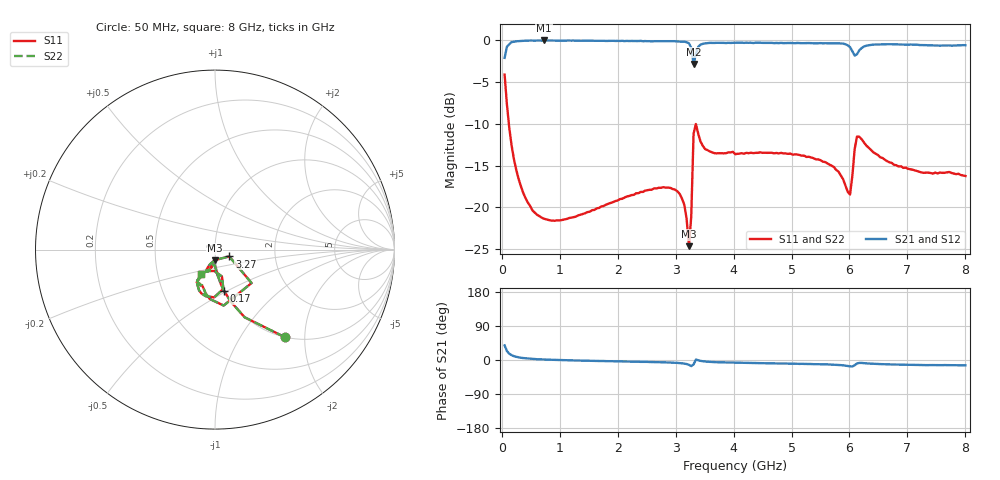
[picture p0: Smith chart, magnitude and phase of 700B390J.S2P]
!  American Technical Ceramics  Date:  3/13/98
!  One Norden Lane
!  Huntington Station,  NY.  11746-2102
!  Tel:  (516) 547-5700  Fax:  (516) 547-5748
!  Part Number  700B390J
!  Description: Porcelain, High Q, Low ESR
!  Application: Bypass, Coupling, Timing, Feedback
!  Tuning, Impedance Match, Blocking
# GHZ S DB R 50
! Freq  |S11|  S11 Ph  |S21|  S21 Ph  |S12|  S12 Ph  |S22|  S22 Ph
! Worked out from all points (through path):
!   201 points, 50 MHz to 8 GHz, reference 50 ohm
!   highest |S21| = -0.03 dB at 730 MHz (marker M1); lowest = -2.8 dB at 3.31 GHz (marker M2)
!   group delay of S21, straight-line fit = 6.88 ps
!   lowest |S11| = -24.6 dB at 3.23 GHz (marker M3), VSWR 1.12, Z = 49.5 - j5.83 ohm
!   |S11| at or under -10 dB: 123.5 MHz to end of sweep
!   |S22| runs from -24.6 to -4.1 dB; largest |S21 - S12| = 0
!   S11 on the Smith chart (normalised r, x): 50 MHz: 1.00, -1.59; 170 MHz: 0.99, -0.48; 3.27 GHz: 1.17, -0.09; 8 GHz: 0.83, -0.23
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0.05  -4.11 -51.5  -2.11 38.5  -2.11 38.5  -4.11 -51.5
0.09  -7.70 -66.3  -0.79 23.6  -0.79 23.6  -7.70 -66.3
0.17  -12.56 -77.5  -0.23 12.8  -0.23 12.8  -12.56 -77.5
0.41  -18.87 -86.7  -0.06 4.7  -0.06 4.7  -18.87 -86.7
0.73  -21.35 -91.8  -0.03 1.2  -0.03 1.2  -21.35 -91.8
1.4  -20.78 -99.3  -0.06 -1.6  -0.06 -1.6  -20.78 -99.3
2.71  -17.65 -110.0  -0.13 -6.0  -0.13 -6.0  -17.65 -110.0
3.07  -18.37 -112.3  -0.16 -8.2  -0.16 -8.2  -18.37 -112.3
3.15  -19.67 -111.6  -0.17 -9.4  -0.17 -9.4  -19.67 -111.6
3.23  -24.63 -91.5  -0.36 -12.7  -0.36 -12.7  -24.63 -91.5
3.27  -21.11 -25.6  -0.91 -16.1  -0.91 -16.1  -21.11 -25.6
3.31  -11.18 -42.5  -2.83 -11.7  -2.83 -11.7  -11.18 -42.5
3.35  -10.02 -81.2  -1.67 1.1  -1.67 1.1  -10.02 -81.2
3.43  -12.12 -102.5  -0.53 -2.2  -0.53 -2.2  -12.12 -102.5
4.03  -13.63 -114.2  -0.31 -7.2  -0.31 -7.2  -13.63 -114.2
5.38  -14.11 -119.7  -0.35 -11.0  -0.35 -11.0  -14.11 -119.7
5.81  -15.71 -118.2  -0.37 -12.9  -0.37 -12.9  -15.71 -118.2
6.01  -18.46 -91.5  -0.83 -16.8  -0.83 -16.8  -18.46 -91.5
6.13  -11.51 -91.0  -1.67 -9.2  -1.67 -9.2  -11.51 -91.0
6.29  -12.59 -113.1  -0.66 -8.9  -0.66 -8.9  -12.59 -113.1
6.69  -14.61 -118.8  -0.48 -11.6  -0.48 -11.6  -14.61 -118.8
8  -16.24 -119.8  -0.60 -14.3  -0.60 -14.3  -16.24 -119.8
